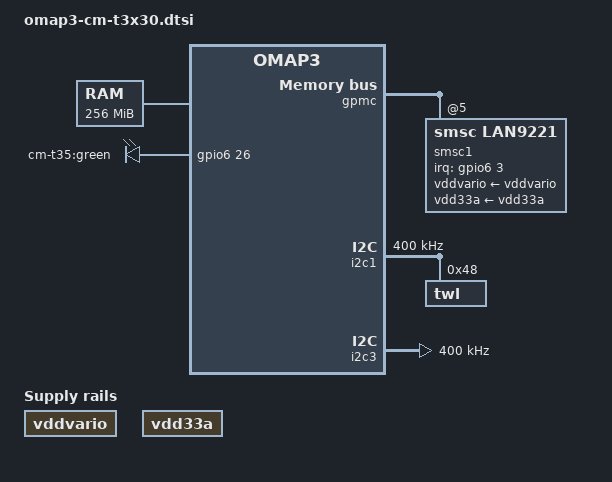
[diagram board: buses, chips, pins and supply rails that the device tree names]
/*
 * Common support for CompuLab CM-T3530 and  CM-T3730
 */

/ {
	memory {
		device_type = "memory";
		reg = <0x80000000 0x10000000>; /* 256 MB */
	};

	cpus {
		cpu@0 {
			cpu0-supply = <&vcc>;
		};
	};

	leds {
		compatible = "gpio-leds";
		ledb {
			label = "cm-t35:green";
			gpios = <&gpio6 26 GPIO_ACTIVE_HIGH>;  /* gpio186 */
			linux,default-trigger = "heartbeat";
		};
	};

	vddvario: regulator-vddvario {
		compatible = "regulator-fixed";
		regulator-name = "vddvario";
		regulator-always-on;
	};

	vdd33a: regulator-vdd33a {
		compatible = "regulator-fixed";
		regulator-name = "vdd33a";
		regulator-always-on;
	};
};

&gpmc {
	ranges = <5 0 0x2c000000 0x01000000>;

	smsc1: ethernet@5,0 {
		compatible = "smsc,lan9221", "smsc,lan9115";
		interrupt-parent = <&gpio6>;
		interrupts = <3 IRQ_TYPE_LEVEL_LOW>;
		reg = <5 0 0xff>;
		bank-width = <2>;
		gpmc,mux-add-data;
		gpmc,cs-on-ns = <0>;
		gpmc,cs-rd-off-ns = <186>;
		gpmc,cs-wr-off-ns = <186>;
		gpmc,adv-on-ns = <12>;
		gpmc,adv-rd-off-ns = <48>;
		gpmc,adv-wr-off-ns = <48>;
		gpmc,oe-on-ns = <54>;
		gpmc,oe-off-ns = <168>;
		gpmc,we-on-ns = <54>;
		gpmc,we-off-ns = <168>;
		gpmc,rd-cycle-ns = <186>;
		gpmc,wr-cycle-ns = <186>;
		gpmc,access-ns = <114>;
		gpmc,page-burst-access-ns = <6>;
		gpmc,bus-turnaround-ns = <12>;
		gpmc,cycle2cycle-delay-ns = <18>;
		gpmc,wr-data-mux-bus-ns = <90>;
		gpmc,wr-access-ns = <186>;
		gpmc,cycle2cycle-samecsen;
		gpmc,cycle2cycle-diffcsen;
		vddvario-supply = <&vddvario>;
		vdd33a-supply = <&vdd33a>;
		reg-io-width = <4>;
		smsc,save-mac-address;
	};
};

&i2c1 {
	clock-frequency = <400000>;

	twl: twl@48 {
		reg = <0x48>;
		interrupts = <7>; /* SYS_NIRQ cascaded to intc */
		interrupt-parent = <&intc>;
	};
};

#include "twl4030.dtsi"
#include "twl4030_omap3.dtsi"

&i2c3 {
	clock-frequency = <400000>;
};

&twl_gpio {
	ti,use-leds;
};
